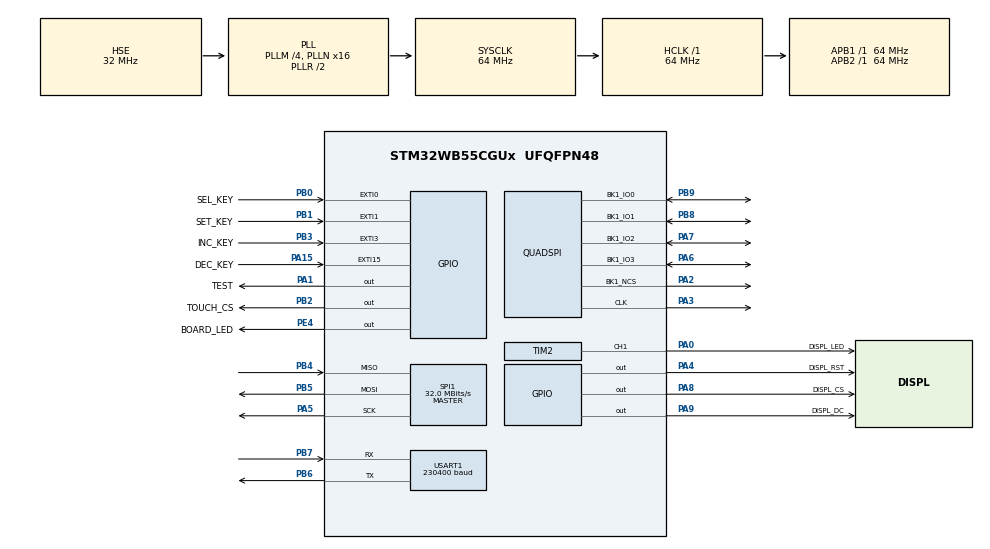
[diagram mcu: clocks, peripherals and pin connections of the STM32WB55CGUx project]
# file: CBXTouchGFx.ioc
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Dma.Request0=SPI1_TX
Dma.Request1=USART1_RX
Dma.Request2=USART1_TX
Dma.SPI1_TX.0.Direction=DMA_MEMORY_TO_PERIPH
Dma.SPI1_TX.0.EventEnable=DISABLE
Dma.SPI1_TX.0.Instance=DMA1_Channel1
Dma.SPI1_TX.0.MemDataAlignment=DMA_MDATAALIGN_BYTE
Dma.SPI1_TX.0.MemInc=DMA_MINC_ENABLE
Dma.SPI1_TX.0.Mode=DMA_NORMAL
Dma.SPI1_TX.0.PeriphDataAlignment=DMA_PDATAALIGN_BYTE
Dma.SPI1_TX.0.PeriphInc=DMA_PINC_DISABLE
Dma.SPI1_TX.0.Polarity=HAL_DMAMUX_REQ_GEN_RISING
Dma.SPI1_TX.0.Priority=DMA_PRIORITY_LOW
Dma.SPI1_TX.0.RequestNumber=1
Dma.SPI1_TX.0.SignalID=NONE
Dma.SPI1_TX.0.SyncEnable=DISABLE
Dma.SPI1_TX.0.SyncPolarity=HAL_DMAMUX_SYNC_NO_EVENT
Dma.SPI1_TX.0.SyncRequestNumber=1
Dma.SPI1_TX.0.SyncSignalID=NONE
Dma.USART1_RX.1.Direction=DMA_PERIPH_TO_MEMORY
Dma.USART1_RX.1.EventEnable=DISABLE
Dma.USART1_RX.1.Instance=DMA1_Channel2
Dma.USART1_RX.1.MemDataAlignment=DMA_MDATAALIGN_BYTE
Dma.USART1_RX.1.MemInc=DMA_MINC_ENABLE
Dma.USART1_RX.1.Mode=DMA_CIRCULAR
Dma.USART1_RX.1.PeriphDataAlignment=DMA_PDATAALIGN_BYTE
Dma.USART1_RX.1.PeriphInc=DMA_PINC_DISABLE
Dma.USART1_RX.1.Polarity=HAL_DMAMUX_REQ_GEN_RISING
Dma.USART1_RX.1.Priority=DMA_PRIORITY_LOW
Dma.USART1_RX.1.RequestNumber=1
Dma.USART1_RX.1.SignalID=NONE
Dma.USART1_RX.1.SyncEnable=DISABLE
Dma.USART1_RX.1.SyncPolarity=HAL_DMAMUX_SYNC_NO_EVENT
Dma.USART1_RX.1.SyncRequestNumber=1
Dma.USART1_RX.1.SyncSignalID=NONE
Dma.USART1_TX.2.Direction=DMA_MEMORY_TO_PERIPH
Dma.USART1_TX.2.EventEnable=DISABLE
Dma.USART1_TX.2.Instance=DMA1_Channel3
Dma.USART1_TX.2.MemDataAlignment=DMA_MDATAALIGN_BYTE
Dma.USART1_TX.2.MemInc=DMA_MINC_ENABLE
Dma.USART1_TX.2.Mode=DMA_NORMAL
Dma.USART1_TX.2.PeriphDataAlignment=DMA_PDATAALIGN_BYTE
Dma.USART1_TX.2.PeriphInc=DMA_PINC_DISABLE
Dma.USART1_TX.2.Polarity=HAL_DMAMUX_REQ_GEN_RISING
Dma.USART1_TX.2.Priority=DMA_PRIORITY_LOW
Dma.USART1_TX.2.RequestNumber=1
Dma.USART1_TX.2.SignalID=NONE
Dma.USART1_TX.2.SyncEnable=DISABLE
Dma.USART1_TX.2.SyncPolarity=HAL_DMAMUX_SYNC_NO_EVENT
Dma.USART1_TX.2.SyncRequestNumber=1
Dma.USART1_TX.2.SyncSignalID=NONE
Mcu.Family=STM32WB
Mcu.Name=STM32WB55CGUx
Mcu.Package=UFQFPN48
NVIC.DMA1_Channel1_IRQn=true\:0\:0\:false\:false\:true\:false\:true\:true
NVIC.DMA1_Channel2_IRQn=true\:0\:0\:false\:false\:true\:false\:true\:true
NVIC.DMA1_Channel3_IRQn=true\:0\:0\:false\:false\:true\:false\:true\:true
NVIC.EXTI0_IRQn=true\:0\:0\:false\:false\:true\:true\:true\:true
NVIC.EXTI15_10_IRQn=true\:0\:0\:false\:false\:true\:true\:true\:true
NVIC.EXTI1_IRQn=true\:0\:0\:false\:false\:true\:true\:true\:true
NVIC.EXTI3_IRQn=true\:0\:0\:false\:false\:true\:true\:true\:true
NVIC.HSEM_IRQn=true\:0\:0\:false\:false\:true\:false\:true\:true
NVIC.IPCC_C1_RX_IRQn=true\:0\:0\:false\:false\:true\:true\:true\:true
NVIC.IPCC_C1_TX_IRQn=true\:0\:0\:false\:false\:true\:true\:true\:true
NVIC.PriorityGroup=NVIC_PRIORITYGROUP_4
NVIC.RTC_WKUP_IRQn=true\:0\:0\:false\:false\:true\:true\:true\:true
NVIC.SPI1_IRQn=true\:0\:0\:false\:false\:true\:true\:true\:true
NVIC.USART1_IRQn=true\:0\:0\:false\:false\:true\:true\:true\:true
OSC_IN.Mode=HSE-External-Oscillator
OSC_IN.Signal=RCC_OSC_IN
OSC_OUT.Mode=HSE-External-Oscillator
OSC_OUT.Signal=RCC_OSC_OUT
PA0.GPIO_Label=DISPL_LED
PA0.Signal=S_TIM2_CH1
PA1.GPIO_Label=TEST
PA1.Signal=GPIO_Output
PA13.Mode=Serial_Wire
PA13.Signal=SYS_JTMS-SWDIO
PA14.Mode=Serial_Wire
PA14.Signal=SYS_JTCK-SWCLK
PA15.GPIO_Label=DEC_KEY
PA15.GPIO_ModeDefaultEXTI=GPIO_MODE_IT_FALLING
PA15.GPIO_PuPd=GPIO_PULLUP
PA15.Signal=GPXTI15
PA2.GPIO_Speed=GPIO_SPEED_FREQ_VERY_HIGH
PA2.Mode=Single Bank 1
PA2.Signal=QUADSPI_BK1_NCS
PA3.GPIO_Speed=GPIO_SPEED_FREQ_VERY_HIGH
PA3.Mode=Single Bank 1
PA3.Signal=QUADSPI_CLK
PA4.GPIO_Label=DISPL_RST
PA4.Signal=GPIO_Output
PA5.GPIO_Speed=GPIO_SPEED_FREQ_VERY_HIGH
PA5.Mode=Full_Duplex_Master
PA5.Signal=SPI1_SCK
PA6.GPIO_Speed=GPIO_SPEED_FREQ_VERY_HIGH
PA6.Mode=Single Bank 1
PA6.Signal=QUADSPI_BK1_IO3
PA7.GPIO_Speed=GPIO_SPEED_FREQ_VERY_HIGH
PA7.Mode=Single Bank 1
PA7.Signal=QUADSPI_BK1_IO2
PA8.GPIO_Label=DISPL_CS
PA8.PinState=GPIO_PIN_SET
PA8.Signal=GPIO_Output
PA9.GPIO_Label=DISPL_DC
PA9.Signal=GPIO_Output
PB0.GPIO_Label=SEL_KEY
PB0.GPIO_ModeDefaultEXTI=GPIO_MODE_IT_FALLING
PB0.GPIO_PuPd=GPIO_PULLUP
PB0.Signal=GPXTI0
PB1.GPIO_Label=SET_KEY
PB1.GPIO_ModeDefaultEXTI=GPIO_MODE_IT_FALLING
PB1.GPIO_PuPd=GPIO_PULLUP
PB1.Signal=GPXTI1
PB2.GPIO_Label=TOUCH_CS
PB2.Signal=GPIO_Output
PB3.GPIO_Label=INC_KEY
PB3.GPIO_ModeDefaultEXTI=GPIO_MODE_IT_FALLING
PB3.GPIO_PuPd=GPIO_PULLUP
PB3.Signal=GPXTI3
PB4.GPIO_Speed=GPIO_SPEED_FREQ_VERY_HIGH
PB4.Mode=Full_Duplex_Master
PB4.Signal=SPI1_MISO
PB5.GPIO_Speed=GPIO_SPEED_FREQ_VERY_HIGH
PB5.Mode=Full_Duplex_Master
PB5.Signal=SPI1_MOSI
PB6.Mode=Asynchronous
PB6.Signal=USART1_TX
PB7.Mode=Asynchronous
PB7.Signal=USART1_RX
PB8.GPIO_Speed=GPIO_SPEED_FREQ_VERY_HIGH
PB8.Mode=Single Bank 1
PB8.Signal=QUADSPI_BK1_IO1
PB9.GPIO_Speed=GPIO_SPEED_FREQ_VERY_HIGH
PB9.Mode=Single Bank 1
PB9.Signal=QUADSPI_BK1_IO0
PC14-OSC32_IN.Mode=LSE-External-Oscillator
PC14-OSC32_IN.Signal=RCC_OSC32_IN
PC15-OSC32_OUT.Mode=LSE-External-Oscillator
PC15-OSC32_OUT.Signal=RCC_OSC32_OUT
PE4.GPIO_Label=BOARD_LED
PE4.Signal=GPIO_Output
ProjectManager.HeapSize=0x2000
ProjectManager.StackSize=0x4000
ProjectManager.TargetToolchain=STM32CubeIDE
QUADSPI.ClockPrescaler=1
QUADSPI.FifoThreshold=4
QUADSPI.FlashSize=23
QUADSPI.SampleShifting=QSPI_SAMPLE_SHIFTING_HALFCYCLE
RCC.ADCFreq_Value=32000000
RCC.AHB2CLKDivider=RCC_SYSCLK_DIV2
RCC.AHBFreq_Value=64000000
RCC.APB1Freq_Value=64000000
RCC.APB1TimFreq_Value=64000000
RCC.APB2Freq_Value=64000000
RCC.APB2TimFreq_Value=64000000
RCC.APB3Freq_Value=16000000
RCC.CortexFreq_Value=64000000
RCC.EnbaleCSS=true
RCC.HCLKFreq_Value=64000000
RCC.HSE_VALUE=32000000
RCC.HSI48_VALUE=48000000
RCC.HSI_VALUE=16000000
RCC.LSE_Timout=10000
RCC.MSIOscState=ENABLED
RCC.PLLM=RCC_PLLM_DIV4
RCC.PLLN=16
RCC.PLLSourceVirtual=RCC_PLLSOURCE_HSE
RCC.SMPSCLockSelection=RCC_SMPSCLKSOURCE_HSE
RCC.SMPSDivider=4
RCC.SYSCLKFreq_VALUE=64000000
RCC.SYSCLKSource=RCC_SYSCLKSOURCE_PLLCLK
RCC.USBFreq_Value=32000000
RCC.VCOOutputFreq_Value=128000000
RF1.Mode=RF1_Activate
RF1.Signal=RF_RF1
RTC.Format=RTC_FORMAT_BIN
SH.S_TIM2_CH1.0=TIM2_CH1,PWM Generation1 CH1
SPI1.CalculateBaudRate=32.0 MBits/s
SPI1.DataSize=SPI_DATASIZE_8BIT
SPI1.Direction=SPI_DIRECTION_2LINES
SPI1.Mode=SPI_MODE_MASTER
SPI1.NSSPMode=SPI_NSS_PULSE_DISABLE
SPI1.VirtualType=VM_MASTER
STM32_WPAN.AD_SERVICE_CLASS_UUID_1=FE 00
STM32_WPAN.AD_SERVICE_CLASS_UUID_1_INV=[00, FE]
STM32_WPAN.CFG_GAP_DEVICE_NAME=CBX_1
STM32_WPAN.CFG_GAP_DEVICE_NAME_LENGTH=5
STM32_WPAN.CFG_LSCLK_LSE=0
STM32_WPAN.CUSTOM_P2P_SERVER=Disabled
STM32_WPAN.CUSTOM_TEMPLATE=Enabled
STM32_WPAN.GAP_PERIPHERAL_ROLE=1
STM32_WPAN.INCLUDE_AD_TYPE_16_BIT_SERV_UUID_CMPLT_LIST=1
STM32_WPAN.INCLUDE_AD_TYPE_COMPLETE_LOCAL_NAME=1
STM32_WPAN.INCLUDE_AD_TYPE_MANUFACTURER_SPECIFIC_DATA=1
STM32_WPAN.INCLUDE_AD_TYPE_TX_POWER_LEVEL=1
STM32_WPAN.NUMBER_OF_SERVICES=1
STM32_WPAN.PAIRING_PARAMETERS=ON
STM32_WPAN.SERVICE1_CHAR1_GATT_NOTIFY_ATTRIBUTE_WRITE=\ 
STM32_WPAN.SERVICE1_CHAR1_GATT_NOTIFY_NOTIFICATION_COMPLETION=GATT_NOTIFY_NOTIFICATION_COMPLETION
STM32_WPAN.SERVICE1_CHAR1_GATT_NOTIFY_READ_REQ_AND_WAIT_FOR_APPL_RESP=\ 
STM32_WPAN.SERVICE1_CHAR1_GATT_NOTIFY_WRITE_REQ_AND_WAIT_FOR_APPL_RESP=\ 
STM32_WPAN.SERVICE1_CHAR1_LENGTH_CHARACTERISTIC=CHAR_VALUE_LEN_VARIABLE
STM32_WPAN.SERVICE1_CHAR1_LONG_NAME=GPS_DATA
STM32_WPAN.SERVICE1_CHAR1_PROP_NOTIFY=CHAR_PROP_NOTIFY
STM32_WPAN.SERVICE1_CHAR1_SHORT_NAME=my_gps
STM32_WPAN.SERVICE1_CHAR1_UUID=FE 41
STM32_WPAN.SERVICE1_CHAR1_VALUE_LENGTH=84
STM32_WPAN.SERVICE1_CHAR2_GATT_NOTIFY_ATTRIBUTE_WRITE=\ 
STM32_WPAN.SERVICE1_CHAR2_GATT_NOTIFY_NOTIFICATION_COMPLETION=GATT_NOTIFY_NOTIFICATION_COMPLETION
STM32_WPAN.SERVICE1_CHAR2_GATT_NOTIFY_READ_REQ_AND_WAIT_FOR_APPL_RESP=\ 
STM32_WPAN.SERVICE1_CHAR2_GATT_NOTIFY_WRITE_REQ_AND_WAIT_FOR_APPL_RESP=\ 
STM32_WPAN.SERVICE1_CHAR2_LONG_NAME=LAT_DATA
STM32_WPAN.SERVICE1_CHAR2_PROP_NOTIFY=CHAR_PROP_NOTIFY
STM32_WPAN.SERVICE1_CHAR2_SHORT_NAME=la_dat
STM32_WPAN.SERVICE1_CHAR2_UUID=FE 42
STM32_WPAN.SERVICE1_CHAR2_VALUE_LENGTH=9
STM32_WPAN.SERVICE1_LONG_NAME=My_CBX_Server
STM32_WPAN.SERVICE1_NUMBER_OF_CHARACTERISTICS=2
STM32_WPAN.SERVICE1_SHORT_NAME=mycbx
STM32_WPAN.SERVICE1_UUID=FE 01
STMicroelectronics.X-CUBE-TOUCHGFX.4.25.0.ApplicationCcGraphicsJjApplication=TouchGFXOoGenerator
STMicroelectronics.X-CUBE-TOUCHGFX.4.25.0.tgfx_buffering_strategy=Partial
STMicroelectronics.X-CUBE-TOUCHGFX.4.25.0.tgfx_custom_height=240
STMicroelectronics.X-CUBE-TOUCHGFX.4.25.0.tgfx_custom_width=320
STMicroelectronics.X-CUBE-TOUCHGFX.4.25.0_IsPackSelfContextualization=true
TIM2.AutoReloadPreload=TIM_AUTORELOAD_PRELOAD_ENABLE
TIM2.Channel-PWM\ Generation1\ CH1=TIM_CHANNEL_1
TIM2.ClockDivision=TIM_CLOCKDIVISION_DIV4
TIM2.Period=250
TIM2.Prescaler=64000-1
TIM2.Pulse-PWM\ Generation1\ CH1=50
TIM2.TIM_MasterOutputTrigger=TIM_TRGO_ENABLE
USART1.BaudRate=230400
USART1.DMADisableonRxErrorParam=ADVFEATURE_DMA_DISABLEONRXERROR
USART1.OverrunDisableParam=ADVFEATURE_OVERRUN_DISABLE
USART1.VirtualMode-Asynchronous=VM_ASYNC
VP_CRC_VS_CRC.Mode=CRC_Activate
VP_HSEM_VS_HSEM.Mode=HSEM_Activate
VP_IPCC_VS_IPCC.Mode=IPCC_Activate
VP_MEMORYMAP_VS_MEMORYMAP.Mode=CurAppReg
VP_RTC_VS_RTC_Activate.Mode=RTC_Enabled
VP_RTC_VS_RTC_Calendar.Mode=RTC_Calendar
VP_RTC_VS_RTC_WakeUp_intern.Mode=WakeUp
VP_SEQUENCER_VS_SEQUENCER.Mode=SEQUENCER_Enabled
VP_STM32_WPAN_VS_BLE_HOST.Mode=STM32_WPAN_Enabled
VP_STMicroelectronics.X-CUBE-TOUCHGFX_VS_GraphicsJjApplication_4.25.0.Mode=GraphicsJjApplication
VP_TIM2_VS_ClockSourceINT.Mode=Internal
VP_TINY_LPM_VS_TINY_LPM.Mode=TINY_LPM_Enabled
board=custom

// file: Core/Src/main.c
/* USER CODE BEGIN Header */
/**
  ******************************************************************************
  * @file           : main.c
  * @brief          : Main program body
  ******************************************************************************
  * @attention
  *
  * Copyright (c) 2025 STMicroelectronics.
  * All rights reserved.
  *
  * This software is licensed under terms that can be found in the LICENSE file
  * in the root directory of this software component.
  * If no LICENSE file comes with this software, it is provided AS-IS.
  *
  ******************************************************************************
  */
/* USER CODE END Header */
#include "main.h"
#include "crc.h"
#include "dma.h"
#include "ipcc.h"
#include "quadspi.h"
#include "rf.h"
#include "rtc.h"
#include "spi.h"
#include "tim.h"
#include "usart.h"
#include "gpio.h"
#include "app_touchgfx.h"

/* USER CODE BEGIN Includes */
#include "z_displ_ILI9XXX.h"
#include "z_touch_XPT2046.h"
#include "string.h"
#include "stdlib.h"
#include "stdio.h"
#include "track.h"
#include "arm_math.h"
#include "serial.h"
//#include "messages.h"
//#include "uart.h"
/* USER CODE END Includes */

/* USER CODE BEGIN PV */
__IO uint8_t sel_key_state = 0;
__IO uint8_t set_key_state = 0;
__IO uint8_t inc_key_state = 0;
__IO uint8_t dec_key_state = 0;
uint32_t touch_gfx_update_time;

uint8_t usart_rx_buff[30];
volatile uint8_t flag_usart_tfr_cplt = 0;

uint8_t gps_lat_data[12];
uint8_t gps_long_data[12];

volatile uint16_t i=0;

volatile uint16_t count=0;

volatile uint8_t position;

uint8_t gps_fix_status;

uint32_t current_time;
uint8_t tempcount=0;

//uint8_t flag_get_no_of_tracks = 0;

volatile uint32_t button_dly;

uint8_t Readbuf[100];
extern volatile float slope;
extern volatile float c1;
extern volatile float new_displacement;
volatile float lat, lon;
uint8_t lati[10];

volatile RTC_DateTypeDef rtc_date;
volatile RTC_TimeTypeDef rtc_time;
//volatile uint8_t flag_update_rtc = 0;

volatile uint8_t flag_track_start_stop=0;
volatile uint8_t flag_update_gps_data = 0;

volatile uint32_t FLAGS_1 = 0;
/* USER CODE END PV */

void SystemClock_Config(void);
void PeriphCommonClock_Config(void);
/* USER CODE BEGIN PFP */
void gps_data_process(void);
/* USER CODE END PFP */

/* USER CODE BEGIN 0 */
void gps_data_process(void)
{
	if(flag_usart_tfr_cplt){
		flag_usart_tfr_cplt = 0;
		memcpy(gps_lat_data,&usart_rx_buff[0],11);
		memcpy(gps_long_data,&usart_rx_buff[12],11);
		//extract_gps_data(&gps_msg_buf[0][0], &lat, &lon);

		//sprintf(gps_lat_data,"%4.4f",lat);
		//sprintf(gps_long_data,"%4.4f",lon);
		displacement_from_line(slope, lon, lat, c1, &new_displacement);
		new_displacement = new_displacement * 10;
		sprintf(lati,"%2.6f",new_displacement);
		HAL_UART_Receive_DMA(&huart1, usart_rx_buff, 24);
		flag_update_gps_data = 1;
	}

}
/* USER CODE END 0 */

int main(void)
{

  /* USER CODE BEGIN 1 */
static uint8_t count=0;
  /* USER CODE END 1 */

  /* MCU Configuration--------------------------------------------------------*/

  /* Reset of all peripherals, Initializes the Flash interface and the Systick. */
  HAL_Init();
  /* Config code for STM32_WPAN (HSE Tuning must be done before system clock configuration) */
  MX_APPE_Config();

  /* Configure the system clock */
  SystemClock_Config();

  /* Configure the peripherals common clocks */
  PeriphCommonClock_Config();

  /* IPCC initialisation */
  MX_IPCC_Init();

  /* USER CODE BEGIN SysInit */
  HAL_Delay(1000);

  /* USER CODE END SysInit */

  /* Initialize all configured peripherals */
  MX_GPIO_Init();
  MX_DMA_Init();
  MX_SPI1_Init();
  MX_CRC_Init();
  MX_TIM2_Init();
  MX_QUADSPI_Init();
  MX_USART1_UART_Init();
  MX_RTC_Init();
  MX_TouchGFX_Init();
  MX_RF_Init();
  /* USER CODE BEGIN 2 */

  rtc_date.Date = 1;
  rtc_date.Month = 1;
  rtc_date.Year = 25;
  rtc_time.Hours = 12;
  rtc_time.Minutes = 0;

  HAL_RTC_SetTime(&hrtc, &rtc_time, RTC_FORMAT_BIN);
  HAL_RTC_SetDate(&hrtc, &rtc_date, RTC_FORMAT_BIN);

  HAL_Delay(500);

  //uint8_t writebuf[] = "External Loader Not Working";

  if (CSP_QUADSPI_Init() != HAL_OK) Error_Handler();

  //if (CSP_QSPI_Erase_Chip() != HAL_OK) Error_Handler();

  //if (CSP_QSPI_WriteMemory(writebuf, 0, sizeof(writebuf)) != HAL_OK) Error_Handler();

  //if (CSP_QSPI_Read(Readbuf, 0, 100) != HAL_OK) Error_Handler();

  if (CSP_QSPI_EnableMemoryMappedMode() != HAL_OK) Error_Handler();

  memcpy(Readbuf, (uint8_t *) 0x90000000, 100);
//	if (Readbuf[0] == 'A') {
//		HAL_GPIO_WritePin(BOARD_LED_GPIO_Port, BOARD_LED_Pin, 1);
//	} else {
//		HAL_GPIO_WritePin(BOARD_LED_GPIO_Port, BOARD_LED_Pin, 0);
//	}
  Displ_Init(Displ_Orientat_90);			// initialize display controller - set orientation parameter as per TouchGFX setup
  touchgfxSignalVSync();					// ask display syncronization
  Displ_BackLight('I');  					// initialize backlight

  line_slope(72.7302, 33.7771, 72.7304, 33.7769, &slope, &c1);
  displacement_from_line(slope, 72.73041786, 33.77714404, c1, &new_displacement);
  displacement_from_line(slope, 72.73012149, 33.7768531, c1, &new_displacement);

  check_crossing_point(72.7302, 33.7771, 72.7304, 33.7769, 72.7304, 33.7774);
  check_crossing_point(72.7302, 33.7771, 72.7304, 33.7769, 72.73044467, 33.77714712);
  touch_gfx_update_time = HAL_GetTick();
  //HAL_UART_Receive_DMA(&huart1, usart_rx_buff, 24);
  UART_1_LineReader_Init();
  current_time = HAL_GetTick();
  button_dly = HAL_GetTick();
  //HAL_NVIC_EnableIRQ(USART1_IRQn);
  //send a test message

  /* USER CODE END 2 */

  /* Init code for STM32_WPAN */
  MX_APPE_Init();

  /* Infinite loop */
  /* USER CODE BEGIN WHILE */
  while (1)
  {
	  serial_comm_process();
	  transmit_messages_process();
	  received_messages_process();
	//send bluetooth data
	if ((current_time + 1000) < HAL_GetTick()) {
		current_time = HAL_GetTick();
		myTask();
		//also update the time and date
		HAL_RTC_GetTime(&hrtc, &rtc_time, RTC_FORMAT_BIN);
		HAL_RTC_GetDate(&hrtc,&rtc_date,RTC_FORMAT_BIN);
		track_process();
		if(count < 10) {
			++count;
			if(count > 6)
			usart_send_message("HelloWorld\r\n");
		}
	}
	//gps_data_process();
	if((touch_gfx_update_time+100) < HAL_GetTick())
	{
		touchgfxSignalVSync();					// ask display syncronization
		touch_gfx_update_time = HAL_GetTick();
	}
	//if(flag_update_rtc)
	if(read_flag(&FLAGS_1, FLAG_UPDATE_RTC))
	{
		//flag_update_rtc = 0;
		clear_flag(&FLAGS_1, FLAG_UPDATE_RTC);
		HAL_RTC_SetTime(&hrtc, &rtc_time, RTC_FORMAT_BIN);
		HAL_RTC_SetDate(&hrtc, &rtc_date, RTC_FORMAT_BIN);
	}
	//track_process();
    /* USER CODE END WHILE */
    MX_APPE_Process();

  MX_TouchGFX_Process();
  }
}

void SystemClock_Config(void)
{
  RCC_OscInitTypeDef RCC_OscInitStruct = {0};
  RCC_ClkInitTypeDef RCC_ClkInitStruct = {0};

  /** Configure the main internal regulator output voltage
  */
  __HAL_PWR_VOLTAGESCALING_CONFIG(PWR_REGULATOR_VOLTAGE_SCALE1);

  /** Initializes the RCC Oscillators according to the specified parameters
  * in the RCC_OscInitTypeDef structure.
  */
  RCC_OscInitStruct.OscillatorType = RCC_OSCILLATORTYPE_HSI|RCC_OSCILLATORTYPE_LSI1
                              |RCC_OSCILLATORTYPE_HSE;
  RCC_OscInitStruct.HSEState = RCC_HSE_ON;
  RCC_OscInitStruct.HSIState = RCC_HSI_ON;
  RCC_OscInitStruct.HSICalibrationValue = RCC_HSICALIBRATION_DEFAULT;
  RCC_OscInitStruct.LSIState = RCC_LSI_ON;
  RCC_OscInitStruct.PLL.PLLState = RCC_PLL_ON;
  RCC_OscInitStruct.PLL.PLLSource = RCC_PLLSOURCE_HSE;
  RCC_OscInitStruct.PLL.PLLM = RCC_PLLM_DIV4;
  RCC_OscInitStruct.PLL.PLLN = 16;
  RCC_OscInitStruct.PLL.PLLP = RCC_PLLP_DIV2;
  RCC_OscInitStruct.PLL.PLLR = RCC_PLLR_DIV2;
  RCC_OscInitStruct.PLL.PLLQ = RCC_PLLQ_DIV2;
  if (HAL_RCC_OscConfig(&RCC_OscInitStruct) != HAL_OK)
  {
    Error_Handler();
  }

  /** Configure the SYSCLKSource, HCLK, PCLK1 and PCLK2 clocks dividers
  */
  RCC_ClkInitStruct.ClockType = RCC_CLOCKTYPE_HCLK4|RCC_CLOCKTYPE_HCLK2
                              |RCC_CLOCKTYPE_HCLK|RCC_CLOCKTYPE_SYSCLK
                              |RCC_CLOCKTYPE_PCLK1|RCC_CLOCKTYPE_PCLK2;
  RCC_ClkInitStruct.SYSCLKSource = RCC_SYSCLKSOURCE_PLLCLK;
  RCC_ClkInitStruct.AHBCLKDivider = RCC_SYSCLK_DIV1;
  RCC_ClkInitStruct.APB1CLKDivider = RCC_HCLK_DIV1;
  RCC_ClkInitStruct.APB2CLKDivider = RCC_HCLK_DIV1;
  RCC_ClkInitStruct.AHBCLK2Divider = RCC_SYSCLK_DIV2;
  RCC_ClkInitStruct.AHBCLK4Divider = RCC_SYSCLK_DIV1;

  if (HAL_RCC_ClockConfig(&RCC_ClkInitStruct, FLASH_LATENCY_3) != HAL_OK)
  {
    Error_Handler();
  }

  /** Enables the Clock Security System
  */
  HAL_RCC_EnableCSS();
}

void PeriphCommonClock_Config(void)
{
  RCC_PeriphCLKInitTypeDef PeriphClkInitStruct = {0};

  /** Initializes the peripherals clock
  */
  PeriphClkInitStruct.PeriphClockSelection = RCC_PERIPHCLK_SMPS|RCC_PERIPHCLK_RFWAKEUP;
  PeriphClkInitStruct.RFWakeUpClockSelection = RCC_RFWKPCLKSOURCE_HSE_DIV1024;
  PeriphClkInitStruct.SmpsClockSelection = RCC_SMPSCLKSOURCE_HSE;
  PeriphClkInitStruct.SmpsDivSelection = RCC_SMPSCLKDIV_RANGE1;

  if (HAL_RCCEx_PeriphCLKConfig(&PeriphClkInitStruct) != HAL_OK)
  {
    Error_Handler();
  }
}

/* USER CODE BEGIN 4 */
void HAL_UART_RxCpltCallback(UART_HandleTypeDef *huart)
{
	if(huart->Instance == USART1)
	{
		flag_usart_tfr_cplt = 1;
		//HAL_GPIO_TogglePin(BOARD_LED_GPIO_Port, BOARD_LED_Pin);
	}
}

void HAL_GPIO_EXTI_Callback(uint16_t GPIO_Pin)
{
	static uint32_t last_tick=0;
	if((HAL_GetTick() - last_tick) > 200)
	{
		last_tick = HAL_GetTick();
		if(GPIO_Pin == SEL_KEY_Pin)
			sel_key_state = 1;
		else if(GPIO_Pin == SET_KEY_Pin)
			set_key_state = 1;
		else if(GPIO_Pin == INC_KEY_Pin)
			inc_key_state = 1;
		else if(GPIO_Pin == DEC_KEY_Pin)
			dec_key_state = 1;
	}
}

//sets a single bit in a 32 bit variable
void set_flag(volatile uint32_t *flag_variable, uint32_t flag)
{
	*flag_variable = *flag_variable | flag;
}
//clears a single bit in a 32-bit variable
void clear_flag(volatile uint32_t *flag_variable, uint32_t flag)
{
	*flag_variable = *flag_variable & ~flag;
}
//returns the value of a single bit in a 32-bit variable
uint32_t read_flag(volatile uint32_t *flag_variable, uint32_t flag)
{
	return(*flag_variable & flag);
}

/*
void DisplayDriver_TransferCompleteCallback()
{

}
void touchgfxSignalVSync(void)
{

}
*/
/* USER CODE END 4 */

void Error_Handler(void)
{
  __disable_irq();
  while (1)
  {
  }
}
